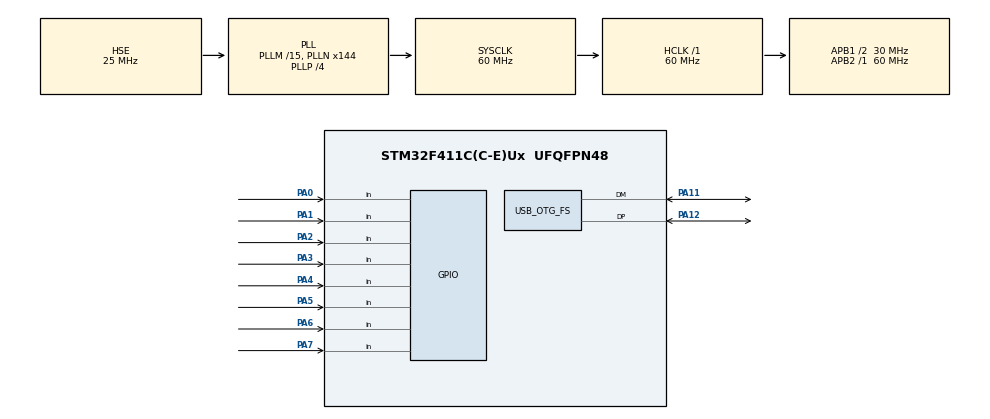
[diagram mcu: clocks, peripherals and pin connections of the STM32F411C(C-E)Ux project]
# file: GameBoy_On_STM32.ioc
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Mcu.Family=STM32F4
Mcu.Name=STM32F411C(C-E)Ux
Mcu.Package=UFQFPN48
NVIC.OTG_FS_IRQn=true\:0\:0\:false\:false\:true\:false\:true\:true
NVIC.PriorityGroup=NVIC_PRIORITYGROUP_4
PA0-WKUP.GPIO_PuPd=GPIO_PULLUP
PA0-WKUP.Signal=GPIO_Input
PA1.GPIO_PuPd=GPIO_PULLUP
PA1.Signal=GPIO_Input
PA11.Mode=Device_Only
PA11.Signal=USB_OTG_FS_DM
PA12.Mode=Device_Only
PA12.Signal=USB_OTG_FS_DP
PA2.GPIO_PuPd=GPIO_PULLUP
PA2.Signal=GPIO_Input
PA3.GPIO_PuPd=GPIO_PULLUP
PA3.Signal=GPIO_Input
PA4.GPIO_PuPd=GPIO_PULLUP
PA4.Signal=GPIO_Input
PA5.GPIO_PuPd=GPIO_PULLUP
PA5.Signal=GPIO_Input
PA6.GPIO_PuPd=GPIO_PULLUP
PA6.Signal=GPIO_Input
PA7.Signal=GPIO_Input
PH0\ -\ OSC_IN.Mode=HSE-External-Oscillator
PH0\ -\ OSC_IN.Signal=RCC_OSC_IN
PH1\ -\ OSC_OUT.Mode=HSE-External-Oscillator
PH1\ -\ OSC_OUT.Signal=RCC_OSC_OUT
ProjectManager.HeapSize=0x200
ProjectManager.StackSize=0x400
ProjectManager.TargetToolchain=STM32CubeIDE
RCC.48MHZClocksFreq_Value=48000000
RCC.AHBFreq_Value=60000000
RCC.APB1CLKDivider=RCC_HCLK_DIV2
RCC.APB1Freq_Value=30000000
RCC.APB1TimFreq_Value=60000000
RCC.APB2Freq_Value=60000000
RCC.APB2TimFreq_Value=60000000
RCC.CortexFreq_Value=60000000
RCC.HCLKFreq_Value=60000000
RCC.HSE_VALUE=25000000
RCC.HSI_VALUE=16000000
RCC.LSE_VALUE=32768
RCC.PLLM=15
RCC.PLLN=144
RCC.PLLP=RCC_PLLP_DIV4
RCC.PLLQ=5
RCC.SYSCLKFreq_VALUE=60000000
RCC.SYSCLKSource=RCC_SYSCLKSOURCE_PLLCLK
RCC.VCOOutputFreq_Value=240000000
USB_DEVICE.CLASS_NAME_FS=CDC
USB_DEVICE.VirtualMode=Cdc
USB_DEVICE.VirtualModeFS=Cdc_FS
USB_OTG_FS.VirtualMode=Device_Only
VP_USB_DEVICE_VS_USB_DEVICE_CDC_FS.Mode=CDC_FS
board=custom

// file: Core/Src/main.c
/* USER CODE BEGIN Header */
/**
  ******************************************************************************
  * @file           : main.c
  * @brief          : Main program body
  ******************************************************************************
  * @attention
  *
  * Copyright (c) 2026 STMicroelectronics.
  * All rights reserved.
  *
  * This software is licensed under terms that can be found in the LICENSE file
  * in the root directory of this software component.
  * If no LICENSE file comes with this software, it is provided AS-IS.
  *
  ******************************************************************************
  */
/* USER CODE END Header */
#include "main.h"
#include "usb_device.h"

void SystemClock_Config(void);
static void MX_GPIO_Init(void);

/* USER CODE BEGIN 0 */
#include "gameboy_bridge.h"
#include "gameboy_rom.h"
#include "usb.h"

#include "ppu_profiler.h"

#include <stdio.h>

extern volatile uint32_t ppu_bg_cycles;
extern volatile uint32_t ppu_sprite_cycles;
extern volatile uint32_t ppu_scan_cycles;
extern volatile uint32_t ppu_framebuffer_cycles;

extern volatile uint32_t ppu_drawing_calls;

uint32_t STM32_GetCycles(void)
{
    return DWT->CYCCNT;
}
/* USER CODE END 0 */

int main(void)
{

  /* MCU Configuration--------------------------------------------------------*/

  /* Reset of all peripherals, Initializes the Flash interface and the Systick. */
  HAL_Init();

  /* Configure the system clock */
  SystemClock_Config();

  /* Initialize all configured peripherals */
  MX_GPIO_Init();
  MX_USB_DEVICE_Init();
  /* USER CODE BEGIN 2 */

  USB_Init();

  USB_SendString("\r\n=== PPU Timing Analysis ===\r\n");

     //========================  Time Analysis  ==================================//
     /* Enable DWT cycle counter */
     CoreDebug->DEMCR |= CoreDebug_DEMCR_TRCENA_Msk;
     DWT->CYCCNT = 0;
     DWT->CTRL |= DWT_CTRL_CYCCNTENA_Msk;

     GameBoy_Init(gameboy_rom, gameboy_rom_size);

     ppu_set_cycle_counter(STM32_GetCycles);

     USB_SendString("Running one frame...\r\n");

     uint32_t start = DWT->CYCCNT;

     GameBoy_RunFrame();

     uint32_t total_cycles = DWT->CYCCNT - start;
     //=============================================================//

     char msg[64];

     /* Total */
     snprintf(msg, sizeof(msg),
              "Total:        %lu cycles\r\n",
              (unsigned long)total_cycles);
     USB_SendString(msg);
     HAL_Delay(100);

     /* BG FIFO */
     snprintf(msg, sizeof(msg),
              "BG FIFO:      %lu cycles\r\n",
              (unsigned long)ppu_bg_cycles);
     USB_SendString(msg);
     HAL_Delay(100);

     /* Sprite FIFO */
     snprintf(msg, sizeof(msg),
              "Sprite FIFO:  %lu cycles\r\n",
              (unsigned long)ppu_sprite_cycles);
     USB_SendString(msg);
     HAL_Delay(100);

     /* Sprite Scan */
     snprintf(msg, sizeof(msg),
              "Sprite Scan:  %lu cycles\r\n",
              (unsigned long)ppu_scan_cycles);
     USB_SendString(msg);
     HAL_Delay(100);

     /* Framebuffer */
     snprintf(msg, sizeof(msg),
              "Framebuffer:  %lu cycles\r\n",
              (unsigned long)ppu_framebuffer_cycles);
     USB_SendString(msg);
     HAL_Delay(100);

     /* Convert total to milliseconds at 60 MHz */
     uint32_t total_ms = total_cycles / 60000U;

     snprintf(msg, sizeof(msg),
              "Total time:   %lu ms\r\n",
              (unsigned long)total_ms);
     USB_SendString(msg);

     HAL_Delay(100);

     snprintf(msg, sizeof(msg),
              "Drawing calls: %lu\r\n",
              (unsigned long)ppu_drawing_calls);
     USB_SendString(msg);

     HAL_Delay(100);

     USB_SendString("=== Done ===\r\n");

     while (1)
     {
     }

  /* USER CODE END 2 */

  /* Infinite loop */
  while (1)
  {

  }
}

void SystemClock_Config(void)
{
  RCC_OscInitTypeDef RCC_OscInitStruct = {0};
  RCC_ClkInitTypeDef RCC_ClkInitStruct = {0};

  /** Configure the main internal regulator output voltage
  */
  __HAL_RCC_PWR_CLK_ENABLE();
  __HAL_PWR_VOLTAGESCALING_CONFIG(PWR_REGULATOR_VOLTAGE_SCALE1);

  /** Initializes the RCC Oscillators according to the specified parameters
  * in the RCC_OscInitTypeDef structure.
  */
  RCC_OscInitStruct.OscillatorType = RCC_OSCILLATORTYPE_HSE;
  RCC_OscInitStruct.HSEState = RCC_HSE_ON;
  RCC_OscInitStruct.PLL.PLLState = RCC_PLL_ON;
  RCC_OscInitStruct.PLL.PLLSource = RCC_PLLSOURCE_HSE;
  RCC_OscInitStruct.PLL.PLLM = 15;
  RCC_OscInitStruct.PLL.PLLN = 144;
  RCC_OscInitStruct.PLL.PLLP = RCC_PLLP_DIV4;
  RCC_OscInitStruct.PLL.PLLQ = 5;
  if (HAL_RCC_OscConfig(&RCC_OscInitStruct) != HAL_OK)
  {
    Error_Handler();
  }

  /** Initializes the CPU, AHB and APB buses clocks
  */
  RCC_ClkInitStruct.ClockType = RCC_CLOCKTYPE_HCLK|RCC_CLOCKTYPE_SYSCLK
                              |RCC_CLOCKTYPE_PCLK1|RCC_CLOCKTYPE_PCLK2;
  RCC_ClkInitStruct.SYSCLKSource = RCC_SYSCLKSOURCE_PLLCLK;
  RCC_ClkInitStruct.AHBCLKDivider = RCC_SYSCLK_DIV1;
  RCC_ClkInitStruct.APB1CLKDivider = RCC_HCLK_DIV2;
  RCC_ClkInitStruct.APB2CLKDivider = RCC_HCLK_DIV1;

  if (HAL_RCC_ClockConfig(&RCC_ClkInitStruct, FLASH_LATENCY_1) != HAL_OK)
  {
    Error_Handler();
  }
}

static void MX_GPIO_Init(void)
{
  GPIO_InitTypeDef GPIO_InitStruct = {0};

  /* GPIO Ports Clock Enable */
  __HAL_RCC_GPIOH_CLK_ENABLE();
  __HAL_RCC_GPIOA_CLK_ENABLE();

  /*Configure GPIO pins : PA0 PA1 PA2 PA3
                           PA4 PA5 PA6 */
  GPIO_InitStruct.Pin = GPIO_PIN_0|GPIO_PIN_1|GPIO_PIN_2|GPIO_PIN_3
                          |GPIO_PIN_4|GPIO_PIN_5|GPIO_PIN_6;
  GPIO_InitStruct.Mode = GPIO_MODE_INPUT;
  GPIO_InitStruct.Pull = GPIO_PULLUP;
  HAL_GPIO_Init(GPIOA, &GPIO_InitStruct);

  /*Configure GPIO pin : PA7 */
  GPIO_InitStruct.Pin = GPIO_PIN_7;
  GPIO_InitStruct.Mode = GPIO_MODE_INPUT;
  GPIO_InitStruct.Pull = GPIO_NOPULL;
  HAL_GPIO_Init(GPIOA, &GPIO_InitStruct);

}

void Error_Handler(void)
{
  __disable_irq();
  while (1)
  {
  }
}
